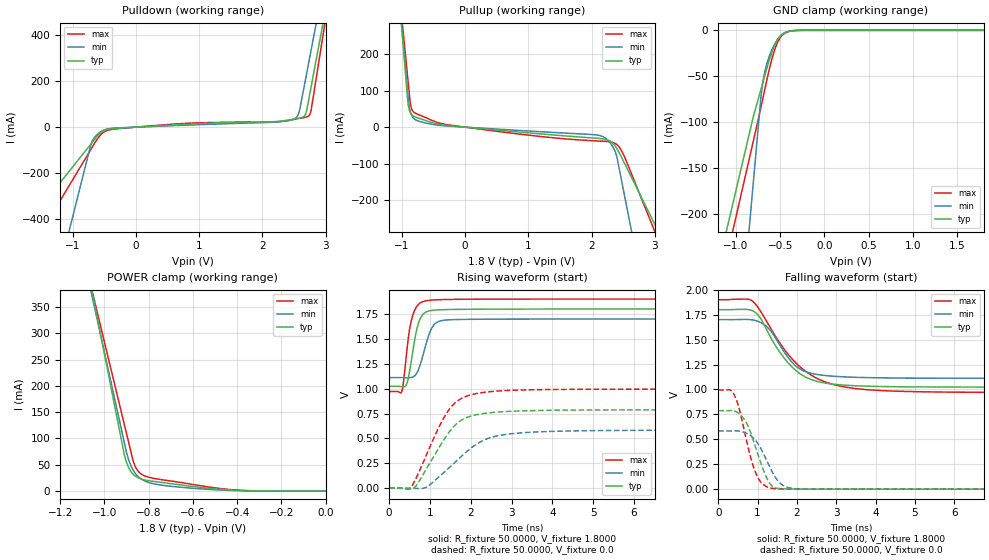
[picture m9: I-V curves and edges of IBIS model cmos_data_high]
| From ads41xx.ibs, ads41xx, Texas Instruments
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|   Model cmos_data_high
[Model]   cmos_data_high
Model_type 3-state
Polarity   Non-Inverting
Enable   Active-High
Vmeas=0.9
C_comp   2.0750pF   1.9000pF   2.2500pF
[Temperature Range]   25.0000   0.1250k   -40.0000
[Voltage Range]   1.8000V   1.7000V   1.9000V
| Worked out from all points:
|   slope of the pulldown table from 0 to 0.27 V, typ, clamps not added: 61.3 ohm
|   slope of the pullup table from 0 to 0.27 V, typ, clamps not added: 62.7 ohm
|   GND clamp passes 1 mA (typ) near -0.40 V on its own axis
|   POWER clamp passes 1 mA (typ) near -0.39 V on its own axis
|   rising waveform, R_fixture 50.0000, V_fixture 1.8000: 20-80 % time 206ps typ, 262ps min, 187ps max; typ from 1.02 V to 1.8 V
|   rising waveform, R_fixture 50.0000, V_fixture 0.0: 20-80 % time 748ps typ, 1.02ns min, 711ps max; typ from 0 V to 0.788 V
|   falling waveform, R_fixture 50.0000, V_fixture 1.8000: 20-80 % time 837ps typ, 651ps min, 1.13ns max; typ from 1.8 V to 1.02 V
|   falling waveform, R_fixture 50.0000, V_fixture 0.0: 20-80 % time 422ps typ, 465ps min, 378ps max; typ from 0.787 V to 0 V
[Pulldown]
|Voltage   I(typ)   I(min)   I(max)
-1.8V     -446.2mA   -1.258A    -592.4mA
-720mV    -75.2mA    -81.71mA   -99.24mA
-640mV    -47.05mA   -39.01mA   -62.92mA
-460mV    -10.5mA    -8.223mA   -14.9mA
710mV     11.19mA    7.69mA     15.22mA
2.48V     34.06mA    32.63mA    32.37mA
2.55V     37.27mA    46.71mA    36.28mA
2.58V     38.61mA    65.94mA    37.79mA
2.67V     51.08mA    191.5mA    42.12mA
2.72V     102.4mA    263.3mA    46.79mA
2.77V     175.5mA    335mA      73.69mA
3.6V      1.39A      1.526A     1.509A
[Pullup]
|Voltage   I(typ)   I(min)   I(max)
-1.8V     1.985A     1.8A       1.7A
-910mV    78.41mA    98.35mA    140.6mA
-890mV    53.38mA    64.8mA     105.5mA
-860mV    37.57mA    39.26mA    59.46mA
-780mV    27.41mA    19.76mA    37.54mA
-260mV    4.234mA    2.841mA    6.131mA
2.16V     -31.57mA   -24.52mA   -38.3mA
2.28V     -36.75mA   -39.86mA   -39.94mA
2.38V     -53.19mA   -69.91mA   -45.29mA
2.47V     -80.69mA   -141.1mA   -62.92mA
2.55V     -108.6mA   -211.4mA   -92.55mA
3.6V      -474.3mA   -1.134A    -541.5mA
[GND_clamp]
|Voltage   I(typ)   I(min)   I(max)
-1.8V     -503.4mA   -1.249A    -541.8mA
-800mV    -92.85mA   -162.4mA   -119.5mA
-720mV    -65.72mA   -75.52mA   -85.37mA
-690mV    -55.13mA   -53.43mA   -71.78mA
-670mV    -48.11mA   -43.79mA   -62.73mA
-620mV    -31.66mA   -27.43mA   -41.38mA
-560mV    -15.91mA   -14.53mA   -20.65mA
-520mV    -8.804mA   -8.629mA   -11.32mA
-470mV    -3.672mA   -3.929mA   -4.772mA
-390mV    -710.2uA   -818.1uA   -1.01mA
-280mV    -32.94uA   -54.05uA   -57.7uA
1.8V      5.757nA    95.41nA    1.717nA
[POWER_clamp]
|Voltage   I(typ)   I(min)   I(max)
-1.8V     1.973A     1.793A     1.681A
-1.09V    453.9mA    436.2mA    440.9mA
-1.05V    368.3mA    359.7mA    371.1mA
-910mV    68.83mA    92.21mA    126.6mA
-890mV    43.87mA    58.68mA    91.62mA
-870mV    31.74mA    39.51mA    56.69mA
-860mV    28.17mA    33.2mA     45.72mA
-840mV    23.7mA     24.62mA    34.17mA
-800mV    19.54mA    16.1mA     26.14mA
-490mV    3.546mA    2.034mA    5.283mA
-340mV    343.4uA    193uA      468.4uA
0V        5.757nA    -261.2nA   2.433nA
[Ramp]
| variable   typ   min   max
dV/dt_r  0.4726/0.7473n   0.3503/1.0154n   0.5970/0.7109n
dV/dt_f  0.4662/0.8367n   0.3535/0.6499n   0.5578/1.1290n
R_load = 50.0000
[Rising Waveform]
R_fixture= 50.0000
V_fixture= 1.8000
V_fixture_min= 1.7000
V_fixture_max= 1.9000
|time   V(typ)   V(min)   V(max)
0s        1.023V     1.111V     970.8mV
300ps     1.02V      1.111V     962.8mV
420ps     1.038V     1.109V     1.329V
510ps     1.196V     1.11V      1.619V
600ps     1.427V     1.121V     1.763V
735ps     1.677V     1.21V      1.853V
930ps     1.774V     1.485V     1.884V
1.14ns    1.79V      1.657V     1.892V
1.545ns   1.796V     1.693V     1.896V
14.99ns   1.8V       1.7V       1.9V
[Rising Waveform]
R_fixture= 50.0000
V_fixture= 0.0
V_fixture_min= 0.0
V_fixture_max= 0.0
|time   V(typ)   V(min)   V(max)
0s        782nV      33.56uV    3.016nV
525ps     -5.154mV   -381.7uV   4.192mV
660ps     24.16mV    -2.114mV   100.6mV
915ps     195.5mV    10.4mV     334.7mV
1.47ns    563.3mV    205.6mV    790.2mV
1.785ns   686.9mV    325.5mV    904.7mV
2.22ns    744.5mV    461.9mV    956.7mV
2.865ns   770.4mV    540.4mV    981mV
4.215ns   783.7mV    573.1mV    992.3mV
14.99ns   787.6mV    583.9mV    995.1mV
[Falling Waveform]
R_fixture= 50.0000
V_fixture= 1.8000
V_fixture_min= 1.7000
V_fixture_max= 1.9000
|time   V(typ)   V(min)   V(max)
0s        1.8V       1.7V       1.9V
855ps     1.792V     1.698V     1.891V
1.05ns    1.728V     1.677V     1.8V
1.275ns   1.566V     1.613V     1.653V
1.635ns   1.337V     1.402V     1.426V
2.025ns   1.174V     1.219V     1.247V
2.58ns    1.075V     1.146V     1.098V
3.285ns   1.041V     1.125V     1.02V
5.61ns    1.025V     1.112V     974.2mV
14.99ns   1.023V     1.111V     970.4mV
[Falling Waveform]
R_fixture= 50.0000
V_fixture= 0.0
V_fixture_min= 0.0
V_fixture_max= 0.0
|time   V(typ)   V(min)   V(max)
0s        787.3mV    583.9mV    994.8mV
375ps     787.5mV    584.7mV    967.6mV
510ps     763.2mV    583.2mV    840mV
660ps     700.9mV    569.3mV    593.1mV
840ps     550.9mV    532mV      299.1mV
990ps     372.5mV    468.2mV    130.8mV
1.365ns   34.61mV    180.4mV    8.61mV
1.635ns   3.967mV    41.89mV    2.397mV
2.055ns   1.445mV    3.033mV    841.7uV
14.99ns   707.5nV    33.57uV    -35.12nV
